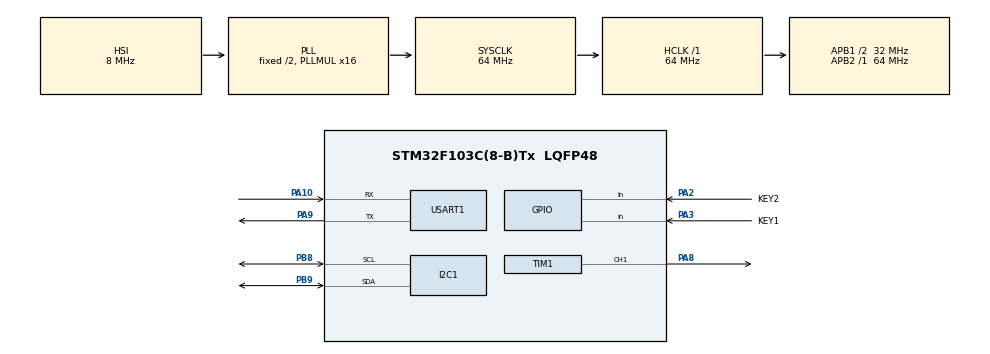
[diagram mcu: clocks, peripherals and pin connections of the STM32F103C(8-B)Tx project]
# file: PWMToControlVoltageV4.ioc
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Dma.I2C1_RX.0.Direction=DMA_PERIPH_TO_MEMORY
Dma.I2C1_RX.0.Instance=DMA1_Channel7
Dma.I2C1_RX.0.MemDataAlignment=DMA_MDATAALIGN_BYTE
Dma.I2C1_RX.0.MemInc=DMA_MINC_ENABLE
Dma.I2C1_RX.0.Mode=DMA_NORMAL
Dma.I2C1_RX.0.PeriphDataAlignment=DMA_PDATAALIGN_BYTE
Dma.I2C1_RX.0.PeriphInc=DMA_PINC_DISABLE
Dma.I2C1_RX.0.Priority=DMA_PRIORITY_LOW
Dma.I2C1_TX.1.Direction=DMA_MEMORY_TO_PERIPH
Dma.I2C1_TX.1.Instance=DMA1_Channel6
Dma.I2C1_TX.1.MemDataAlignment=DMA_MDATAALIGN_BYTE
Dma.I2C1_TX.1.MemInc=DMA_MINC_ENABLE
Dma.I2C1_TX.1.Mode=DMA_NORMAL
Dma.I2C1_TX.1.PeriphDataAlignment=DMA_PDATAALIGN_BYTE
Dma.I2C1_TX.1.PeriphInc=DMA_PINC_DISABLE
Dma.I2C1_TX.1.Priority=DMA_PRIORITY_LOW
Dma.Request0=I2C1_RX
Dma.Request1=I2C1_TX
I2C1.I2C_Mode=I2C_Fast
Mcu.Family=STM32F1
Mcu.Name=STM32F103C(8-B)Tx
Mcu.Package=LQFP48
NVIC.DMA1_Channel6_IRQn=true\:0\:0\:false\:false\:true\:false\:true\:true
NVIC.DMA1_Channel7_IRQn=true\:0\:0\:false\:false\:true\:false\:true\:true
NVIC.I2C1_ER_IRQn=true\:0\:0\:false\:false\:true\:true\:true\:true
NVIC.I2C1_EV_IRQn=true\:0\:0\:false\:false\:true\:true\:true\:true
NVIC.PriorityGroup=NVIC_PRIORITYGROUP_4
NVIC.TIM1_UP_IRQn=true\:1\:0\:true\:false\:true\:true\:true\:true
NVIC.TIM2_IRQn=true\:0\:0\:false\:false\:true\:true\:true\:true
PA10.Mode=Asynchronous
PA10.Signal=USART1_RX
PA13.Mode=Serial_Wire
PA13.Signal=SYS_JTMS-SWDIO
PA14.Mode=Serial_Wire
PA14.Signal=SYS_JTCK-SWCLK
PA2.GPIO_Label=KEY2
PA2.GPIO_PuPd=GPIO_PULLUP
PA2.Signal=GPIO_Input
PA3.GPIO_Label=KEY1
PA3.GPIO_PuPd=GPIO_PULLUP
PA3.Signal=GPIO_Input
PA8.Signal=S_TIM1_CH1
PA9.Mode=Asynchronous
PA9.Signal=USART1_TX
PB8.Mode=I2C
PB8.Signal=I2C1_SCL
PB9.Mode=I2C
PB9.Signal=I2C1_SDA
ProjectManager.HeapSize=0x200
ProjectManager.StackSize=0x400
ProjectManager.TargetToolchain=STM32CubeIDE
RCC.AHBFreq_Value=64000000
RCC.APB1CLKDivider=RCC_HCLK_DIV2
RCC.APB1Freq_Value=32000000
RCC.APB1TimFreq_Value=64000000
RCC.APB2Freq_Value=64000000
RCC.APB2TimFreq_Value=64000000
RCC.HCLKFreq_Value=64000000
RCC.PLLMUL=RCC_PLL_MUL16
RCC.SYSCLKFreq_VALUE=64000000
RCC.SYSCLKSource=RCC_SYSCLKSOURCE_PLLCLK
RCC.USBFreq_Value=64000000
SH.S_TIM1_CH1.0=TIM1_CH1,PWM Generation1 CH1
TIM1.AutoReloadPreload=TIM_AUTORELOAD_PRELOAD_ENABLE
TIM1.Channel-PWM\ Generation1\ CH1=TIM_CHANNEL_1
TIM1.Period=1000-1
TIM1.Prescaler=8-1
TIM2.AutoReloadPreload=TIM_AUTORELOAD_PRELOAD_ENABLE
TIM2.ClockDivision=TIM_CLOCKDIVISION_DIV1
TIM2.Period=1400-1
TIM2.Prescaler=6400-1
USART1.VirtualMode=VM_ASYNC
VP_TIM1_VS_ClockSourceINT.Mode=Internal
VP_TIM2_VS_ClockSourceINT.Mode=Internal
board=custom

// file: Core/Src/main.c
/* USER CODE BEGIN Header */
/**
  ******************************************************************************
  * @file           : main.c
  * @brief          : Main program body
  ******************************************************************************
  * @attention
  *
  * Copyright (c) 2025 STMicroelectronics.
  * All rights reserved.
  *
  * This software is licensed under terms that can be found in the LICENSE file
  * in the root directory of this software component.
  * If no LICENSE file comes with this software, it is provided AS-IS.
  *
  ******************************************************************************
  */
/* USER CODE END Header */
#include "main.h"
#include "dma.h"
#include "i2c.h"
#include "tim.h"
#include "usart.h"
#include "gpio.h"

/* USER CODE BEGIN Includes */
#include "oled.h"
#include "retarget.h"
#include "Dino.h"
#include "stm32f1xx_it.h"
/* USER CODE END Includes */

/* USER CODE BEGIN PV */
extern uint8_t modeSelectFlag;
uint8_t message[20];
extern uint16_t dcDuty, sawtoothDuty;
extern OutputType outputType;
extern uint8_t sinFrequency, sawtoothFrequency;
FlagStatus dinoFlag = RESET;
extern FlagStatus dinoStart;
/* USER CODE END PV */

void SystemClock_Config(void);

int main(void)
{

  /* MCU Configuration--------------------------------------------------------*/

  /* Reset of all peripherals, Initializes the Flash interface and the Systick. */
  HAL_Init();

  /* Configure the system clock */
  SystemClock_Config();

  /* Initialize all configured peripherals */
  MX_GPIO_Init();
  MX_DMA_Init();
  MX_TIM1_Init();
  MX_I2C1_Init();
  MX_TIM2_Init();
  MX_USART1_UART_Init();
  /* USER CODE BEGIN 2 */
  HAL_Delay(50);
  OLED_Init();
  HAL_TIM_PWM_Start(&htim1, TIM_CHANNEL_1);
  HAL_TIM_Base_Start_IT(&htim1);
  HAL_TIM_Base_Start_IT(&htim2);
  /* USER CODE END 2 */

  /* Infinite loop */
  /* USER CODE BEGIN WHILE */
  while (1)
  {
      if(modeSelectFlag == SET) {
          OLED_NewFrame();
          OLED_PrintString(0, 0, "选择输出类型:", &selectOutputTypeFont, OLED_COLOR_NORMAL);
          switch(outputType) {
              case OUTPUT_TYPE_DC:
                  OLED_DrawImage(40, 21, &DCImgFont45x45, OLED_COLOR_NORMAL); break;
              case OUTPUT_TYPE_SIN:
                  OLED_DrawImage(40, 21, &sinImg, OLED_COLOR_NORMAL); break;
              case OUTPUT_TYPE_SAWTOOTH:
                  OLED_DrawImage(40, 21, &sawtoothImg45x45, OLED_COLOR_NORMAL); break;
              case OUTPUT_TYPE_DINO:
                  OLED_DrawImage(40, 21, &dinoImg45x45, OLED_COLOR_NORMAL); break;
              default:
                  OLED_PrintString(0, 13, "Error!", &font16x16, OLED_COLOR_NORMAL); break;
          }
          OLED_ShowFrame();
      }
      else {
          switch (outputType) {
              case OUTPUT_TYPE_LOGO:
                  OLED_NewFrame();
                  OLED_DrawImage(35, 15, &logoImg50x50, OLED_COLOR_NORMAL);
                  OLED_ShowFrame();
                  HAL_Delay(100);
                  break;
              case OUTPUT_TYPE_DC:
                  sprintf((char *)message, "设定值:%d%%", dcDuty/10);
                  OLED_NewFrame();
                  OLED_PrintString(0, 0, "当前输出-DC", &messageDisplayFont12x12, OLED_COLOR_NORMAL);
                  OLED_PrintString(0, 17, (char *)message, &DCoutputValueFont12x12, OLED_COLOR_NORMAL);
                  OLED_DrawRectangle(13, 40, 101, 12, OLED_COLOR_NORMAL);
                  OLED_DrawFilledRectangle(13, 41, dcDuty/10, 11, OLED_COLOR_NORMAL);
                  OLED_ShowFrame();
                  break;
              case OUTPUT_TYPE_SIN:
                  sprintf((char *)message, "设定值:%dHz", sinFrequency);
                  OLED_NewFrame();
                  OLED_PrintString(0, 0, "当前输出-Sin", &messageDisplayFont12x12, OLED_COLOR_NORMAL);
                  OLED_PrintString(0, 17, (char *)message, &DCoutputValueFont12x12, OLED_COLOR_NORMAL);
                  OLED_DrawRectangle(13, 40, 101, 12, OLED_COLOR_NORMAL);
                  OLED_DrawFilledRectangle(13, 41, sinFrequency, 11, OLED_COLOR_NORMAL);
                  OLED_ShowFrame();
                  break;
              case OUTPUT_TYPE_SAWTOOTH:
                  sprintf((char *)message, "设定值:%dHz", sawtoothFrequency);
                  OLED_NewFrame();
                  OLED_PrintString(0, 0, "当前输出-Sawtooth", &messageDisplayFont12x12, OLED_COLOR_NORMAL);
                  OLED_PrintString(0, 17, (char *)message, &DCoutputValueFont12x12, OLED_COLOR_NORMAL);
                  OLED_DrawRectangle(13, 40, 101, 12, OLED_COLOR_NORMAL);
                  OLED_DrawFilledRectangle(13, 41, sawtoothFrequency, 11, OLED_COLOR_NORMAL);
                  OLED_ShowFrame();
                  break;
              case OUTPUT_TYPE_DINO:
                  if(dinoFlag == RESET) {
                      introMessage();
                      dinoFlag = SET;
                  }
                  if(dinoStart == SET) {
                      showLine();
                      play();
                      HAL_Delay(100);
                  }
                  break;
              default:
                  OLED_NewFrame();
                  OLED_PrintString(0, 0, "Error!", &font12x12, OLED_COLOR_NORMAL);
                  OLED_ShowFrame();
                  break;
          }
      }
    /* USER CODE END WHILE */

  }
}

void SystemClock_Config(void)
{
  RCC_OscInitTypeDef RCC_OscInitStruct = {0};
  RCC_ClkInitTypeDef RCC_ClkInitStruct = {0};

  /** Initializes the RCC Oscillators according to the specified parameters
  * in the RCC_OscInitTypeDef structure.
  */
  RCC_OscInitStruct.OscillatorType = RCC_OSCILLATORTYPE_HSI;
  RCC_OscInitStruct.HSIState = RCC_HSI_ON;
  RCC_OscInitStruct.HSICalibrationValue = RCC_HSICALIBRATION_DEFAULT;
  RCC_OscInitStruct.PLL.PLLState = RCC_PLL_ON;
  RCC_OscInitStruct.PLL.PLLSource = RCC_PLLSOURCE_HSI_DIV2;
  RCC_OscInitStruct.PLL.PLLMUL = RCC_PLL_MUL16;
  if (HAL_RCC_OscConfig(&RCC_OscInitStruct) != HAL_OK)
  {
    Error_Handler();
  }

  /** Initializes the CPU, AHB and APB buses clocks
  */
  RCC_ClkInitStruct.ClockType = RCC_CLOCKTYPE_HCLK|RCC_CLOCKTYPE_SYSCLK
                              |RCC_CLOCKTYPE_PCLK1|RCC_CLOCKTYPE_PCLK2;
  RCC_ClkInitStruct.SYSCLKSource = RCC_SYSCLKSOURCE_PLLCLK;
  RCC_ClkInitStruct.AHBCLKDivider = RCC_SYSCLK_DIV1;
  RCC_ClkInitStruct.APB1CLKDivider = RCC_HCLK_DIV2;
  RCC_ClkInitStruct.APB2CLKDivider = RCC_HCLK_DIV1;

  if (HAL_RCC_ClockConfig(&RCC_ClkInitStruct, FLASH_LATENCY_2) != HAL_OK)
  {
    Error_Handler();
  }
}

void Error_Handler(void)
{
  __disable_irq();
  while (1)
  {
  }
}
